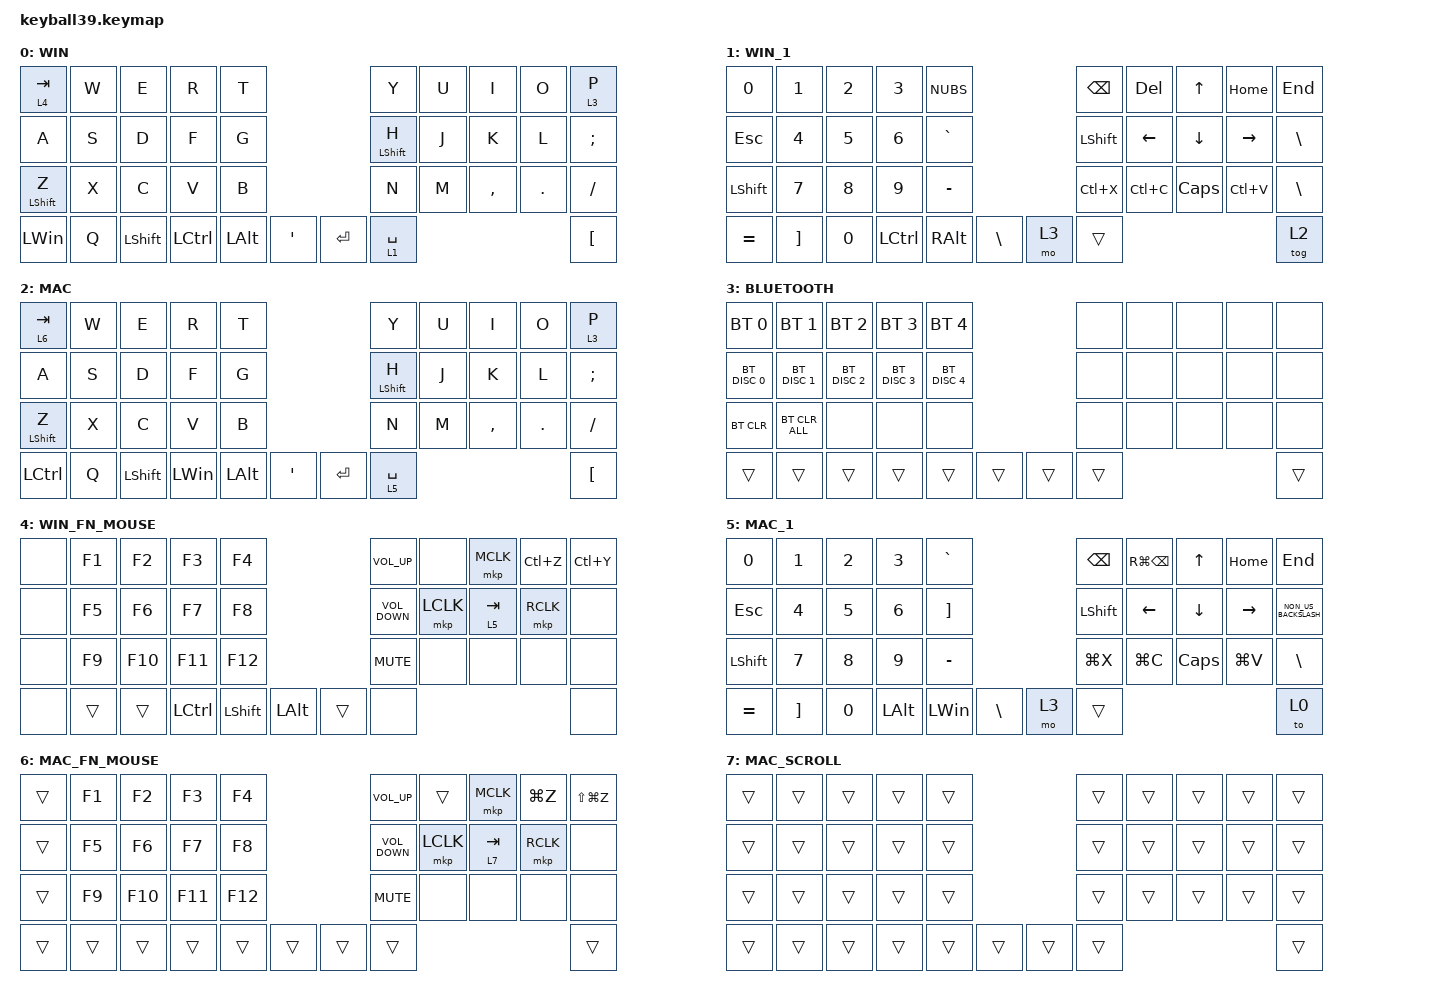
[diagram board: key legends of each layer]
#define DEFAULT 0
#define NUM     1
#define SYM     2
#define FUN     3
#define MOUSE   4
#define SCROLL  5
#define SNIPE   6

#include <behaviors/mouse_keys.dtsi>
#include <dt-bindings/zmk/mouse.h>
#include <behaviors.dtsi>
#include <dt-bindings/zmk/bt.h>
#include <dt-bindings/zmk/keys.h>
#include <dt-bindings/zmk/pointing.h>

&lt {
    tapping-term-ms = <150>;
    flavor = "balanced";
    quick-tap-ms = <100>;
};

&mt {
    tapping-term-ms = <150>;
    flavor = "tap-preferred";
    quick-tap-ms = <100>;
};

&caps_word { continue-list = <UNDERSCORE MINUS>; };

/ {
    // custom shift using mod-morph 

    behaviors {
        cmqus: comma_question {
            compatible = "zmk,behavior-mod-morph";
            label = "COMMA_QUESTION";
            #binding-cells = <0>;
            bindings = <&kp COMMA>, <&kp QUESTION>;

            mods = <(MOD_LSFT|MOD_RSFT)>;
        };

        dtsmi: dot_semi {
            compatible = "zmk,behavior-mod-morph";
            label = "DOT_SEMI";
            #binding-cells = <0>;
            bindings = <&kp DOT>, <&kp SEMI>;

            mods = <(MOD_LSFT|MOD_RSFT)>;
        };
    };

    keymap {
        compatible = "zmk,keymap";

        default_win_layer {
            label = "WIN";
            bindings = <
&lt 4 TAB         &kp W  &kp E           &kp R      &kp T                             &kp Y             &kp U  &kp I      &kp O    &lt 3 P
&kp A             &kp S  &kp D           &kp F      &kp G                             &mt LEFT_SHIFT H  &kp J  &kp K      &kp L    &kp SEMI
&mt LEFT_SHIFT Z  &kp X  &kp C           &kp V      &kp B                             &kp N             &kp M  &kp COMMA  &kp DOT  &kp SLASH
&kp LEFT_WIN      &kp Q  &kp LEFT_SHIFT  &kp LCTRL  &kp LEFT_ALT  &kp SQT  &kp ENTER  &lt 1 SPACE                                  &kp LBKT
            >;
        };

        layer_win_1 {
            label = "WIN_1";
            bindings = <
&kp NUMBER_0    &kp N1             &kp N2        &kp N3            &kp NUBS                             &kp BACKSPACE   &kp DELETE      &kp UP_ARROW    &kp HOME         &kp END
&kp ESCAPE      &kp NUMBER_4       &kp NUMBER_5  &kp N6            &kp GRAVE                            &kp LEFT_SHIFT  &kp LEFT_ARROW  &kp DOWN_ARROW  &kp RIGHT_ARROW  &kp BACKSLASH
&kp LEFT_SHIFT  &kp NUMBER_7       &kp NUMBER_8  &kp NUMBER_9      &kp MINUS                            &kp LC(X)       &kp LC(C)       &kp CAPS        &kp LC(V)        &kp BACKSLASH
&kp EQUAL       &kp RIGHT_BRACKET  &kp NUMBER_0  &kp LEFT_CONTROL  &kp RIGHT_ALT  &kp BACKSLASH  &mo 3  &trans                                                           &tog 2
            >;
        };

        default_mac_layer {
            label = "MAC";
            bindings = <
&lt 6 TAB         &kp W  &kp E           &kp R         &kp T                             &kp Y             &kp U  &kp I      &kp O       &lt 3 P
&kp A             &kp S  &kp D           &kp F         &kp G                             &mt LEFT_SHIFT H  &kp J  &kp K      &kp L       &kp SEMI
&mt LEFT_SHIFT Z  &kp X  &kp C           &kp V         &kp B                             &kp N             &kp M  &kp COMMA  &kp PERIOD  &kp SLASH
&kp LEFT_CONTROL  &kp Q  &kp LEFT_SHIFT  &kp LEFT_WIN  &kp LEFT_ALT  &kp SQT  &kp ENTER  &lt 5 SPACE                                     &kp LEFT_BRACKET
            >;
        };

        bluetooth_layer {
            label = "BLUETOOTH";
            bindings = <
&bt BT_SEL 0   &bt BT_SEL 1    &bt BT_SEL 2   &bt BT_SEL 3   &bt BT_SEL 4                   &none   &none  &none  &none  &none
&bt BT_DISC 0  &bt BT_DISC 1   &bt BT_DISC 2  &bt BT_DISC 3  &bt BT_DISC 4                  &none   &none  &none  &none  &none
&bt BT_CLR     &bt BT_CLR_ALL  &none          &none          &none                          &none   &none  &none  &none  &none
&trans         &trans          &trans         &trans         &trans         &trans  &trans  &trans                       &trans
            >;
        };

        win_mouse_layer {
            label = "WIN_FN_MOUSE";
            bindings = <
&none  &kp F1  &kp F2   &kp F3     &kp F4                                &kp C_VOLUME_UP    &none      &mkp MCLK  &kp LC(Z)  &kp LC(Y)
&none  &kp F5  &kp F6   &kp F7     &kp F8                                &kp C_VOLUME_DOWN  &mkp LCLK  &lt 5 TAB  &mkp RCLK  &none
&none  &kp F9  &kp F10  &kp F11    &kp F12                               &kp K_MUTE         &none      &none      &none      &none
&none  &trans  &trans   &kp LCTRL  &kp LEFT_SHIFT  &kp LEFT_ALT  &trans  &none                                               &none
            >;
        };

        layer_1_mac {
            label = "MAC_1";
            bindings = <
&kp NUMBER_0    &kp N1             &kp N2        &kp N3        &kp GRAVE                                &kp BACKSPACE   &kp RG(BACKSPACE)  &kp UP_ARROW    &kp HOME         &kp END
&kp ESCAPE      &kp NUMBER_4       &kp NUMBER_5  &kp N6        &kp RIGHT_BRACKET                        &kp LEFT_SHIFT  &kp LEFT_ARROW     &kp DOWN_ARROW  &kp RIGHT_ARROW  &kp NON_US_BACKSLASH
&kp LEFT_SHIFT  &kp NUMBER_7       &kp NUMBER_8  &kp NUMBER_9  &kp MINUS                                &kp LG(X)       &kp LG(C)          &kp CAPSLOCK    &kp LG(V)        &kp BACKSLASH
&kp EQUAL       &kp RIGHT_BRACKET  &kp NUMBER_0  &kp LEFT_ALT  &kp LEFT_WIN       &kp BACKSLASH  &mo 3  &trans                                                              &to 0
            >;
        };

        mac_mouse_layer {
            bindings = <
&trans  &kp F1  &kp F2   &kp F3   &kp F4                   &kp C_VOLUME_UP    &trans     &mkp MCLK  &kp LG(Z)  &kp LS(LG(Z))
&trans  &kp F5  &kp F6   &kp F7   &kp F8                   &kp C_VOLUME_DOWN  &mkp LCLK  &lt 7 TAB  &mkp RCLK  &none
&trans  &kp F9  &kp F10  &kp F11  &kp F12                  &kp K_MUTE         &none      &none      &none      &none
&trans  &trans  &trans   &trans   &trans   &trans  &trans  &trans                                              &trans
            >;

            label = "MAC_FN_MOUSE";
        };

        mac_scroll_layer {
            label = "MAC_SCROLL";
            bindings = <
&trans  &trans  &trans  &trans  &trans                  &trans  &trans  &trans  &trans  &trans
&trans  &trans  &trans  &trans  &trans                  &trans  &trans  &trans  &trans  &trans
&trans  &trans  &trans  &trans  &trans                  &trans  &trans  &trans  &trans  &trans
&trans  &trans  &trans  &trans  &trans  &trans  &trans  &trans                          &trans
            >;
        };
    };
};
